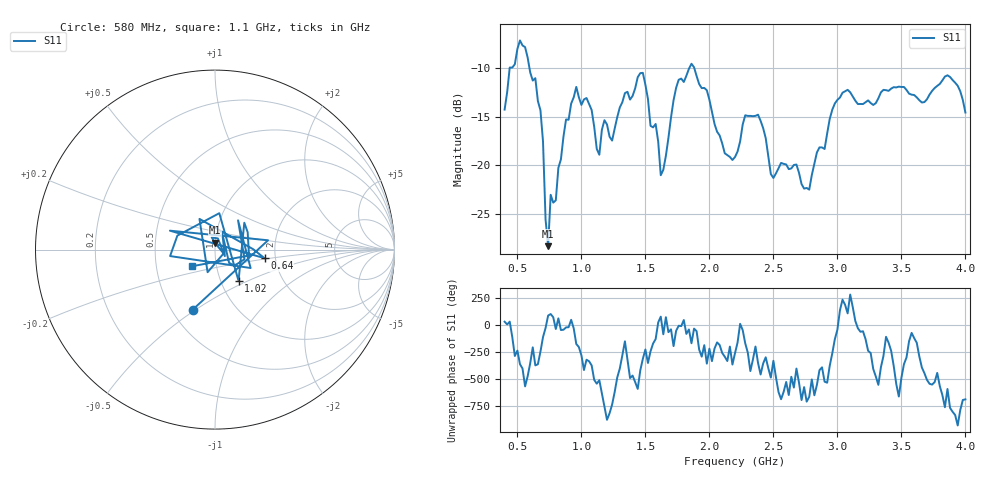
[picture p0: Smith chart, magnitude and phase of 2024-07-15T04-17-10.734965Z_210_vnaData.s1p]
!Created with skrf (http://scikit-rf.org).
# Hz S RI R 50.0
!freq ReS11 ImS11
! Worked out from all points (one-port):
!   181 points, 400 MHz to 4 GHz, reference 50 ohm
!   lowest |S11| = -28.3 dB at 740 MHz (marker M1), VSWR 1.08, Z = 49.8 + j3.82 ohm
!   |S11| at or under -10 dB: start of sweep to 439.6 MHz; 594.1 MHz to 1.843 GHz (1.249 GHz wide, 103 % of centre); 1.882 GHz to end of sweep
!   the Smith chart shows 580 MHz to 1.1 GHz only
!   S11 on the Smith chart (normalised r, x): 580 MHz: 0.63, -0.49; 640 MHz: 1.75, -0.18; 1.02 GHz: 1.21, -0.44; 1.1 GHz: 0.76, -0.15
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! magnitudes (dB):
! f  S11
! 400 MHz  -14.3
! 520 MHz  -7.2
! 580 MHz  -8.9
! 640 MHz  -11.0
! 700 MHz  -17.5
! 720 MHz  -25.6
! 740 MHz  -28.3
! 760 MHz  -23.0
! 800 MHz  -23.6
! 860 MHz  -17.0
! 960 MHz  -11.9
! 1.02 GHz  -13.2
! 1.1 GHz  -16.0
! 1.14 GHz  -18.9
! 1.3 GHz  -14.1
! 1.48 GHz  -10.5
! 1.62 GHz  -21.0
! 1.76 GHz  -11.2
! 1.86 GHz  -9.6
! 2.2 GHz  -19.2
! 2.38 GHz  -14.8
! 2.5 GHz  -21.3
! 2.66 GHz  -20.0
! 2.78 GHz  -22.5
! 3.1 GHz  -12.5
! 3.56 GHz  -12.6
! 3.86 GHz  -10.8
! 4 GHz  -14.6
